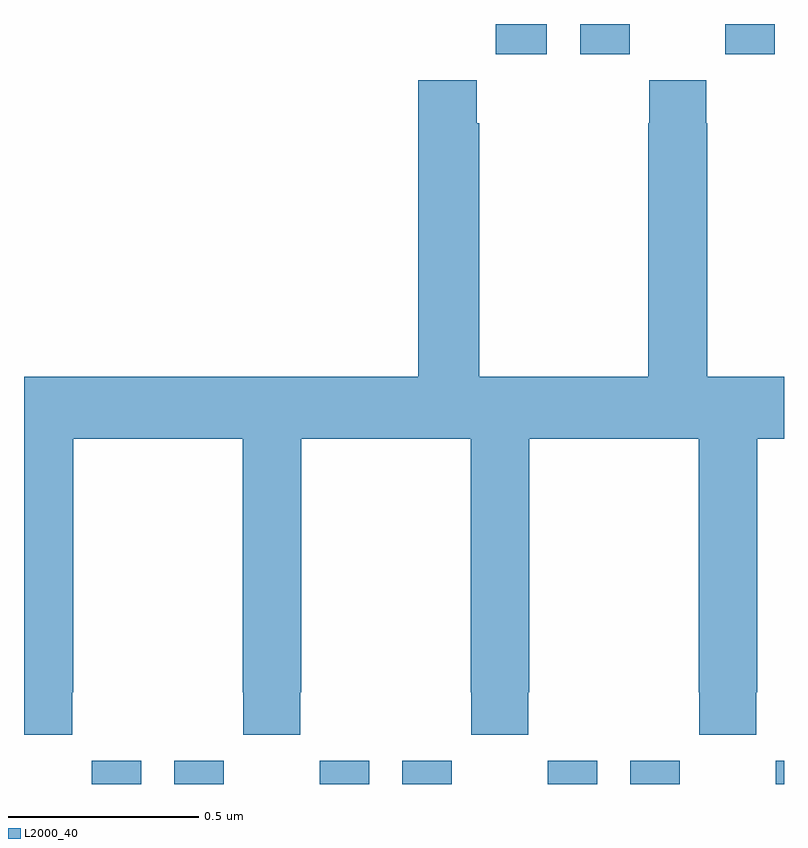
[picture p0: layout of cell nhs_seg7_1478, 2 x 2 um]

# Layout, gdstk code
import gdstk
lib = gdstk.Library(unit=1e-6, precision=1e-09)
def R(c, l, rs):  # rectangles x0, y0, x1, y1
    for r in rs: c.add(gdstk.rectangle(r[:2], r[2:], *l))
def P(c, l, *ps):  # polygons
    for p in ps: c.add(gdstk.Polygon(p, *l))
L2000_40 = (2000, 40)

nhs_seg7_1478 = lib.new_cell('nhs_seg7_1478')
R(nhs_seg7_1478, L2000_40, [(131.178,1041,131.308,1041.061), (131.396,1041,131.526,1041.061), (131.778,1041,131.908,1041.061), (131.996,1041,132.126,1041.061), (132.378,1041,132.508,1041.061), (132.596,1041,132.726,1041.061), (132.978,1041,133,1041.061), (132.242,1042.92,132.376,1043), (132.464,1042.92,132.594,1043), (132.846,1042.92,132.976,1043)])
P(nhs_seg7_1478, L2000_40, [(131.127,1041.241),(131.13,1041.241),(131.13,1041.908),(131.575,1041.908),(131.575,1041.241),(131.577,1041.241),(131.577,1041.129),(131.727,1041.129),(131.727,1041.241),(131.73,1041.241),(131.73,1041.908),(132.175,1041.908),(132.175,1041.241),(132.177,1041.241),(132.177,1041.129),(132.327,1041.129),(132.327,1041.241),(132.33,1041.241),(132.33,1041.908),(132.775,1041.908),(132.775,1041.241),(132.777,1041.241),(132.777,1041.129),(132.927,1041.129),(132.927,1041.241),(132.93,1041.241),(132.93,1041.908),(133,1041.908),(133,1042.072),(132.798,1042.072),(132.798,1042.739),(132.795,1042.739),(132.795,1042.852),(132.645,1042.852),(132.645,1042.739),(132.643,1042.739),(132.643,1042.072),(132.198,1042.072),(132.198,1042.739),(132.191,1042.739),(132.191,1042.852),(132.038,1042.852),(132.038,1042.072),(131,1042.072),(131,1041.129),(131.127,1041.129)])

lib.write_gds('nhs_seg7_1478.gds')
